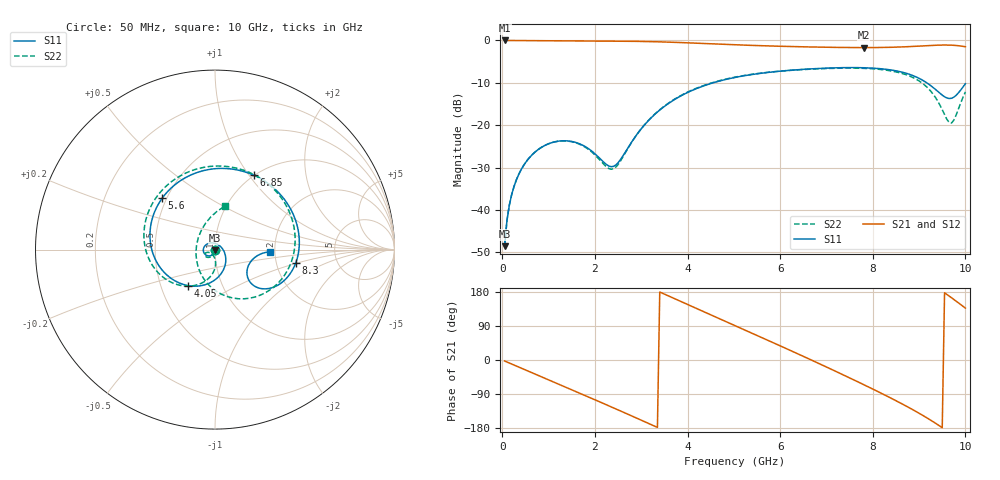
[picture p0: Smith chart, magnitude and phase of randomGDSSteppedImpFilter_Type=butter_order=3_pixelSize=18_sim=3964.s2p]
! freq	dB(S11)	phase(S11)	dB(S12)	phase(S12)
!  dB(S21)	phase(S21)	dB(S22)	phase(S22)
!S-par simulation data
#  GHz  S  DB  R 50
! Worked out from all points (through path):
!   200 points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, 50 MHz to 10 GHz, reference 50 ohm
!   highest |S21| = 0.00 dB at 50 MHz (marker M1); lowest = -1.7 dB at 7.8 GHz (marker M2)
!   group delay of S21, straight-line fit = 156 ps
!   lowest |S11| = -48.6 dB at 50 MHz (marker M3), VSWR 1.01, Z = 50 - j0.373 ohm
!   |S11| at or under -10 dB: start of sweep to 4.553 GHz; 9.166 GHz to end of sweep
!   |S22| runs from -48.6 to -6.5 dB; largest |S21 - S12| = 0
!   S11 on the Smith chart (normalised r, x): 50 MHz: 1.00, -0.01; 4.05 GHz: 0.69, -0.29; 5.6 GHz: 0.47, +0.33; 6.85 GHz: 0.99, +1.05; 8.3 GHz: 2.56, -0.49; 10 GHz: 1.89, -0.05
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0.05  -48.57 -91.5  -0.00 -2.7  -0.00 -2.7  -48.56 -90.7
0.1  -42.54 -94.9  -0.01 -5.3  -0.01 -5.3  -42.53 -93.4
0.2  -36.52 -101.2  -0.02 -10.6  -0.02 -10.6  -36.50 -98.1
0.55  -28.15 -123.1  -0.04 -28.9  -0.04 -28.9  -28.13 -114.5
1.1  -24.03 -158.3  -0.08 -57.6  -0.08 -57.6  -24.04 -138.5
1.75  -24.82 153.3  -0.12 -91.7  -0.12 -91.7  -24.95 -159.7
2.4  -29.74 49.5  -0.15 -126.3  -0.15 -126.3  -30.31 -122.2
2.9  -22.30 -38.7  -0.21 -153.3  -0.21 -153.3  -22.30 -87.4
3.4  -16.43 -81.8  -0.33 179.4  -0.33 179.4  -16.36 -99.7
4.05  -12.04 -126.7  -0.58 143.8  -0.58 143.8  -11.95 -126.3
5.05  -8.68 169.7  -1.03 89.3  -1.03 89.3  -8.61 -171.6
5.6  -7.73 135.8  -1.25 59.4  -1.25 59.4  -7.69 162.3
6.15  -7.11 102.7  -1.42 29.2  -1.42 29.2  -7.12 134.8
6.7  -6.69 70.9  -1.55 -1.5  -1.55 -1.5  -6.76 105.1
6.85  -6.61 62.6  -1.58 -10.0  -1.58 -10.0  -6.69 96.6
7.8  -6.45 13.6  -1.69 -64.8  -1.69 -64.8  -6.59 37.3
8.3  -6.83 -9.6  -1.64 -94.9  -1.64 -94.9  -7.03 2.3
8.35  -6.90 -11.9  -1.63 -98.0  -1.63 -98.0  -7.11 -1.3
8.85  -8.22 -32.6  -1.43 -130.2  -1.43 -130.2  -8.67 -41.0
9.35  -11.53 -42.8  -1.14 -166.5  -1.14 -166.5  -13.40 -94.8
9.7  -13.65 -20.9  -1.12 164.3  -1.12 164.3  -19.51 166.1
10  -10.23 -2.2  -1.49 136.9  -1.49 136.9  -12.15 77.5
